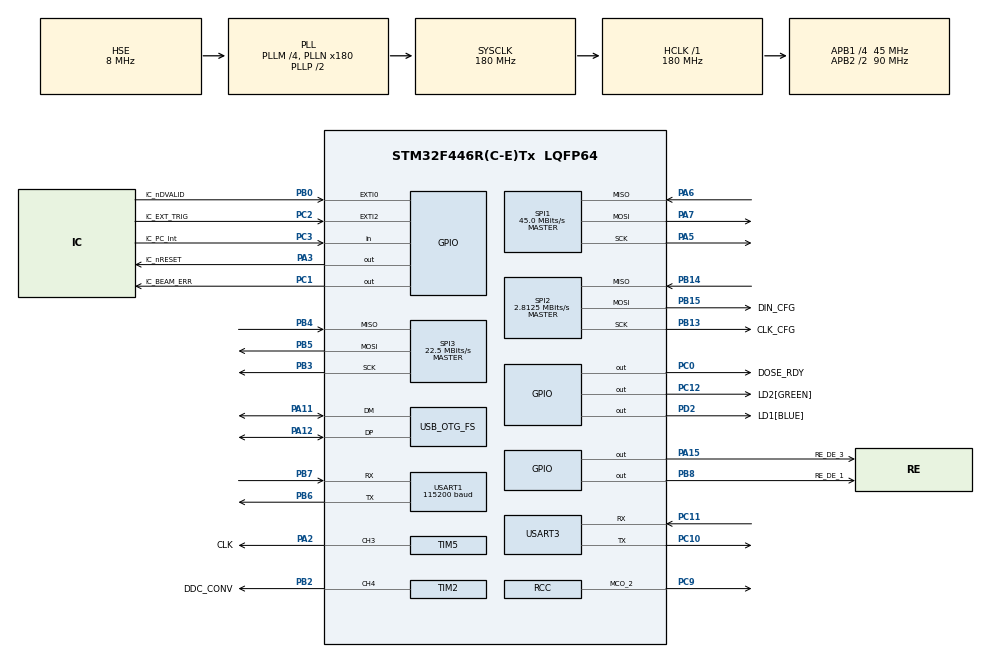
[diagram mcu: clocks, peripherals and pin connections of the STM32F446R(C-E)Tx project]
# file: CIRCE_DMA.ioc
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Dma.Request0=USART1_RX
Dma.Request1=SPI1_RX
Dma.Request2=SPI1_TX
Dma.SPI1_RX.1.Direction=DMA_PERIPH_TO_MEMORY
Dma.SPI1_RX.1.FIFOMode=DMA_FIFOMODE_DISABLE
Dma.SPI1_RX.1.Instance=DMA2_Stream2
Dma.SPI1_RX.1.MemDataAlignment=DMA_MDATAALIGN_HALFWORD
Dma.SPI1_RX.1.MemInc=DMA_MINC_ENABLE
Dma.SPI1_RX.1.Mode=DMA_NORMAL
Dma.SPI1_RX.1.PeriphDataAlignment=DMA_PDATAALIGN_HALFWORD
Dma.SPI1_RX.1.PeriphInc=DMA_PINC_DISABLE
Dma.SPI1_RX.1.Priority=DMA_PRIORITY_LOW
Dma.SPI1_TX.2.Direction=DMA_MEMORY_TO_PERIPH
Dma.SPI1_TX.2.FIFOMode=DMA_FIFOMODE_DISABLE
Dma.SPI1_TX.2.Instance=DMA2_Stream3
Dma.SPI1_TX.2.MemDataAlignment=DMA_MDATAALIGN_HALFWORD
Dma.SPI1_TX.2.MemInc=DMA_MINC_ENABLE
Dma.SPI1_TX.2.Mode=DMA_NORMAL
Dma.SPI1_TX.2.PeriphDataAlignment=DMA_PDATAALIGN_HALFWORD
Dma.SPI1_TX.2.PeriphInc=DMA_PINC_DISABLE
Dma.SPI1_TX.2.Priority=DMA_PRIORITY_LOW
Dma.USART1_RX.0.Direction=DMA_PERIPH_TO_MEMORY
Dma.USART1_RX.0.FIFOMode=DMA_FIFOMODE_DISABLE
Dma.USART1_RX.0.Instance=DMA2_Stream5
Dma.USART1_RX.0.MemDataAlignment=DMA_MDATAALIGN_BYTE
Dma.USART1_RX.0.MemInc=DMA_MINC_ENABLE
Dma.USART1_RX.0.Mode=DMA_NORMAL
Dma.USART1_RX.0.PeriphDataAlignment=DMA_PDATAALIGN_BYTE
Dma.USART1_RX.0.PeriphInc=DMA_PINC_DISABLE
Dma.USART1_RX.0.Priority=DMA_PRIORITY_VERY_HIGH
Mcu.Family=STM32F4
Mcu.Name=STM32F446R(C-E)Tx
Mcu.Package=LQFP64
NVIC.DMA2_Stream2_IRQn=true\:1\:0\:true\:false\:true\:false\:true\:true
NVIC.DMA2_Stream3_IRQn=true\:0\:0\:false\:false\:true\:false\:true\:true
NVIC.DMA2_Stream5_IRQn=true\:0\:0\:false\:false\:true\:false\:true\:true
NVIC.EXTI0_IRQn=true\:0\:0\:true\:false\:true\:true\:true\:true
NVIC.OTG_FS_IRQn=true\:0\:0\:false\:false\:true\:false\:true\:true
NVIC.PriorityGroup=NVIC_PRIORITYGROUP_4
NVIC.SPI1_IRQn=true\:0\:0\:false\:false\:true\:true\:true\:true
NVIC.USART1_IRQn=true\:1\:0\:true\:false\:true\:true\:true\:true
PA11.Mode=Device_Only
PA11.Signal=USB_OTG_FS_DM
PA12.Mode=Device_Only
PA12.Signal=USB_OTG_FS_DP
PA13.Mode=Serial_Wire
PA13.Signal=SYS_JTMS-SWDIO
PA14.Mode=Serial_Wire
PA14.Signal=SYS_JTCK-SWCLK
PA15.GPIO_Label=RE_DE_3
PA15.GPIO_PuPd=GPIO_PULLDOWN
PA15.Signal=GPIO_Output
PA2.GPIO_Label=CLK
PA2.Signal=S_TIM5_CH3
PA3.GPIO_Label=IC_nRESET
PA3.Signal=GPIO_Output
PA5.GPIO_Mode=GPIO_MODE_AF_PP
PA5.GPIO_PuPd=GPIO_NOPULL
PA5.GPIO_Speed=GPIO_SPEED_FREQ_VERY_HIGH
PA5.Mode=Full_Duplex_Master
PA5.Signal=SPI1_SCK
PA6.GPIO_Speed=GPIO_SPEED_FREQ_VERY_HIGH
PA6.Mode=Full_Duplex_Master
PA6.Signal=SPI1_MISO
PA7.GPIO_Speed=GPIO_SPEED_FREQ_VERY_HIGH
PA7.Mode=Full_Duplex_Master
PA7.Signal=SPI1_MOSI
PB0.GPIO_Label=IC_nDVALID
PB0.GPIO_ModeDefaultEXTI=GPIO_MODE_IT_FALLING
PB0.Signal=GPXTI0
PB13.GPIO_Label=CLK_CFG
PB13.Mode=Full_Duplex_Master
PB13.Signal=SPI2_SCK
PB14.Mode=Full_Duplex_Master
PB14.Signal=SPI2_MISO
PB15.GPIO_Label=DIN_CFG
PB15.Mode=Full_Duplex_Master
PB15.Signal=SPI2_MOSI
PB2.GPIO_Label=DDC_CONV
PB2.Signal=S_TIM2_CH4
PB3.Mode=Full_Duplex_Master
PB3.Signal=SPI3_SCK
PB4.Mode=Full_Duplex_Master
PB4.Signal=SPI3_MISO
PB5.Mode=Full_Duplex_Master
PB5.Signal=SPI3_MOSI
PB6.Mode=Asynchronous
PB6.Signal=USART1_TX
PB7.Mode=Asynchronous
PB7.Signal=USART1_RX
PB8.GPIO_Label=RE_DE_1
PB8.GPIO_PuPd=GPIO_PULLDOWN
PB8.Signal=GPIO_Output
PC0.GPIO_Label=DOSE_RDY
PC0.Signal=GPIO_Output
PC1.GPIO_Label=IC_BEAM_ERR
PC1.Signal=GPIO_Output
PC10.Mode=Asynchronous
PC10.Signal=USART3_TX
PC11.Mode=Asynchronous
PC11.Signal=USART3_RX
PC12.GPIO_Label=LD2[GREEN]
PC12.Signal=GPIO_Output
PC2.GPIO_Label=IC_EXT_TRIG
PC2.GPIO_ModeDefaultEXTI=GPIO_MODE_IT_RISING
PC2.Signal=GPXTI2
PC3.GPIO_Label=IC_PC_Int
PC3.GPIO_PuPd=GPIO_PULLDOWN
PC3.Signal=GPIO_Input
PC9.Mode=Clock-out-2
PC9.Signal=RCC_MCO_2
PD2.GPIO_Label=LD1[BLUE]
PD2.Signal=GPIO_Output
PH0-OSC_IN.Mode=HSE-External-Oscillator
PH0-OSC_IN.Signal=RCC_OSC_IN
PH1-OSC_OUT.Mode=HSE-External-Oscillator
PH1-OSC_OUT.Signal=RCC_OSC_OUT
ProjectManager.HeapSize=0x200
ProjectManager.StackSize=0x400
ProjectManager.TargetToolchain=STM32CubeIDE
RCC.AHBFreq_Value=180000000
RCC.APB1CLKDivider=RCC_HCLK_DIV4
RCC.APB1Freq_Value=45000000
RCC.APB1TimFreq_Value=90000000
RCC.APB2CLKDivider=RCC_HCLK_DIV2
RCC.APB2Freq_Value=90000000
RCC.APB2TimFreq_Value=180000000
RCC.CortexFreq_Value=180000000
RCC.HCLKFreq_Value=180000000
RCC.HSE_VALUE=8000000
RCC.PLLI2SM=8
RCC.PLLI2SN=100
RCC.PLLM=4
RCC.PLLN=180
RCC.PLLQ=7
RCC.PLLSAIM=4
RCC.PLLSAIP=RCC_PLLSAIP_DIV8
RCC.PLLSourceVirtual=RCC_PLLSOURCE_HSE
RCC.RCC_MCO2Source=RCC_MCO2SOURCE_HSE
RCC.RCC_MCODiv1=RCC_MCODIV_5
RCC.SYSCLKFreq_VALUE=180000000
RCC.SYSCLKSource=RCC_SYSCLKSOURCE_PLLCLK
RCC.USBCLockSelection=RCC_CLK48CLKSOURCE_PLLSAIP
RCC.USBFreq_Value=48000000
RCC.VCOOutputFreq_Value=360000000
SH.S_TIM2_CH4.0=TIM2_CH4,PWM Generation4 CH4
SH.S_TIM5_CH3.0=TIM5_CH3,PWM Generation3 CH3
SPI1.BaudRatePrescaler=SPI_BAUDRATEPRESCALER_2
SPI1.CalculateBaudRate=45.0 MBits/s
SPI1.DataSize=SPI_DATASIZE_16BIT
SPI1.Direction=SPI_DIRECTION_2LINES
SPI1.Mode=SPI_MODE_MASTER
SPI1.VirtualType=VM_MASTER
SPI2.BaudRatePrescaler=SPI_BAUDRATEPRESCALER_16
SPI2.CalculateBaudRate=2.8125 MBits/s
SPI2.DataSize=SPI_DATASIZE_16BIT
SPI2.Direction=SPI_DIRECTION_2LINES
SPI2.Mode=SPI_MODE_MASTER
SPI2.VirtualType=VM_MASTER
SPI3.CalculateBaudRate=22.5 MBits/s
SPI3.Direction=SPI_DIRECTION_2LINES
SPI3.Mode=SPI_MODE_MASTER
SPI3.VirtualType=VM_MASTER
TIM2.Channel-PWM\ Generation4\ CH4=TIM_CHANNEL_4
TIM2.Period=499
TIM2.Prescaler=89
TIM2.Pulse-PWM\ Generation4\ CH4=249
TIM5.Channel-PWM\ Generation3\ CH3=TIM_CHANNEL_3
USART1.BaudRate=115200
USART1.VirtualMode=VM_ASYNC
USART3.VirtualMode=VM_ASYNC
USB_DEVICE.CLASS_NAME_FS=CDC
USB_DEVICE.VirtualMode-CDC_FS=Cdc
USB_DEVICE.VirtualModeFS=Cdc_FS
USB_OTG_FS.VirtualMode=Device_Only
VP_TIM2_VS_ClockSourceINT.Mode=Internal
VP_USB_DEVICE_VS_USB_DEVICE_CDC_FS.Mode=CDC_FS
board=custom

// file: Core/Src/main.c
/* USER CODE BEGIN Header */
/**
  ******************************************************************************
  * @file           : main.c
  * @brief          : Main program body
  ******************************************************************************
  * @attention
  *
  * Copyright (c) 2025 STMicroelectronics.
  * All rights reserved.
  *
  * This software is licensed under terms that can be found in the LICENSE file
  * in the root directory of this software component.
  * If no LICENSE file comes with this software, it is provided AS-IS.
  *
  ******************************************************************************
  */
/* USER CODE END Header */
#include "main.h"
#include "usb_device.h"

/* USER CODE BEGIN Includes */
#include "usbd_cdc_if.h"
#include "IC_ADC64.h"
#include "USART_cmd.h"
#include "delay_micros.h"
#include "common.h"
/* USER CODE END Includes */

/* USER CODE BEGIN PD */
#define USB_BUFFLEN 500
/* USER CODE END PD */

SPI_HandleTypeDef hspi1;
SPI_HandleTypeDef hspi2;
SPI_HandleTypeDef hspi3;
DMA_HandleTypeDef hdma_spi1_rx;
DMA_HandleTypeDef hdma_spi1_tx;

TIM_HandleTypeDef htim2;
TIM_HandleTypeDef htim5;

UART_HandleTypeDef huart1;
UART_HandleTypeDef huart3;
DMA_HandleTypeDef hdma_usart1_rx;

/* USER CODE BEGIN PV */
extern char str[100];
volatile uint8_t rx_index = 0;
volatile uint8_t reception_complete = 0;
extern void string_parse();
extern void IC_Read_cmd_UART();
extern bool USART_CMD_ON;
//extern IC_Data_t IC_Data;
volatile IC_state state;
//extern bool USART_CMD_ON;
extern IC_Mode_t IC_Mode;
uint8_t usbTxBuf[USB_BUFFLEN];
uint16_t usbTxBufLen;
uint8_t usbRxBuf[USB_BUFFLEN];
uint16_t usbRxBufLen;
volatile bool usbRxFlag;
bool irq_on_off;
bool line_is_busy = false;
bool start_reading = false;
//RTC_TimeTypeDef sTime = {0};
//RTC_DateTypeDef DateToUpdate = {0};
/* USER CODE END PV */

void SystemClock_Config(void);
static void MX_GPIO_Init(void);
static void MX_DMA_Init(void);
static void MX_SPI1_Init(void);
static void MX_SPI2_Init(void);
static void MX_USART3_UART_Init(void);
static void MX_TIM2_Init(void);
static void MX_TIM5_Init(void);
static void MX_USART1_UART_Init(void);
static void MX_SPI3_Init(void);
/* USER CODE BEGIN PFP */
void Reset_SPI_DMA();
/* USER CODE END PFP */

int main(void)
{

  /* MCU Configuration--------------------------------------------------------*/

  /* Reset of all peripherals, Initializes the Flash interface and the Systick. */
  HAL_Init();

  /* Configure the system clock */
  SystemClock_Config();

  /* Initialize all configured peripherals */
  MX_GPIO_Init();
  MX_DMA_Init();
  MX_SPI1_Init();
  MX_SPI2_Init();
  MX_USART3_UART_Init();
  MX_TIM2_Init();
  MX_USB_DEVICE_Init();
  MX_TIM5_Init();
  MX_USART1_UART_Init();
  MX_SPI3_Init();
  /* USER CODE BEGIN 2 */
  HAL_GPIO_WritePin(LD1_GPIO_Port,LD1_Pin,SET);
  HAL_GPIO_WritePin(LD2_GPIO_Port,LD2_Pin,SET);
  HAL_UART_Receive_DMA(&mcu_huart, (uint8_t*)str, 10);
  //HAL_SPI_Receive_DMA(&data_spi, (uint8_t*)IC_Data.dout, IC_CH_NUM);
//  USART_net_init(&huart1);
  //USART_set_parse_func(string_parse);
  USART_set_parse_func(IC_Read_cmd_UART);
  //HAL_TIM_PWM_Start(&htim1, TIM_CHANNEL_1);
  DWT_Init();

  /* USER CODE END 2 */

  /* Infinite loop */
  /* USER CODE BEGIN WHILE */
  HAL_Delay(500);
  //IC_Reset();
  //__HAL_SPI_ENABLE_IT(&hspi1, (SPI_IT_RXNE | SPI_IT_ERR));
  //HAL_GPIO_WritePin(LD2_GPIO_Port,LD2_Pin,SET);
  //HAL_GPIO_WritePin(LD1_GPIO_Port,LD1_Pin,SET);
   HAL_GPIO_WritePin(LD1_GPIO_Port,LD1_Pin,RESET);
   HAL_GPIO_WritePin(LD2_GPIO_Port,LD2_Pin,RESET);
   printf("[INFO] START F4\n");
   state = STATE_WAIT;
	//HAL_TIM_PWM_Start(&conv_timer, conv_channel);
   HAL_GPIO_WritePin(RE_DE_3_GPIO_Port,RE_DE_3_Pin,SET);
  /* USER CODE END 2 */
  /* Infinite loop */
  /* USER CODE BEGIN WHILE */
  while (1)
  {
    /* USER CODE END WHILE */

    /* USER CODE BEGIN 3 */
	  switch(state){
	  case STATE_WAIT:
		  break;
	  case STATE_READING:
		  state = STATE_WAIT;

		  IC_ReadADC();
		  break;
	  case STATE_PROCESSING:

		  state = STATE_WAIT;
		  IC_ReadADC_Complete();
		  break;

	  }

//	  if(usbRxFlag == true){
//		  usbRxFlag = false;
//
//
//	 			 string_parse((char*)usbRxBuf);
//	 			 // if(irq_on_off == true){
//	 				//  IC_ReadADC_on();
//	 			  //}
//	 			 // if(IC_Mode.ext_trigger_mode != IC_EXT_TRIGGER_ON && irq_on_off == true){
//	 			  if(irq_on_off == true){
//	 				  IC_ReadADC_on();
//	 			  }
//	  }

  }
  /* USER CODE END 3 */
}

void SystemClock_Config(void)
{
  RCC_OscInitTypeDef RCC_OscInitStruct = {0};
  RCC_ClkInitTypeDef RCC_ClkInitStruct = {0};

  /** Configure the main internal regulator output voltage
  */
  __HAL_RCC_PWR_CLK_ENABLE();
  __HAL_PWR_VOLTAGESCALING_CONFIG(PWR_REGULATOR_VOLTAGE_SCALE1);

  /** Initializes the RCC Oscillators according to the specified parameters
  * in the RCC_OscInitTypeDef structure.
  */
  RCC_OscInitStruct.OscillatorType = RCC_OSCILLATORTYPE_HSE;
  RCC_OscInitStruct.HSEState = RCC_HSE_ON;
  RCC_OscInitStruct.PLL.PLLState = RCC_PLL_ON;
  RCC_OscInitStruct.PLL.PLLSource = RCC_PLLSOURCE_HSE;
  RCC_OscInitStruct.PLL.PLLM = 4;
  RCC_OscInitStruct.PLL.PLLN = 180;
  RCC_OscInitStruct.PLL.PLLP = RCC_PLLP_DIV2;
  RCC_OscInitStruct.PLL.PLLQ = 7;
  RCC_OscInitStruct.PLL.PLLR = 2;
  if (HAL_RCC_OscConfig(&RCC_OscInitStruct) != HAL_OK)
  {
    Error_Handler();
  }

  /** Activate the Over-Drive mode
  */
  if (HAL_PWREx_EnableOverDrive() != HAL_OK)
  {
    Error_Handler();
  }

  /** Initializes the CPU, AHB and APB buses clocks
  */
  RCC_ClkInitStruct.ClockType = RCC_CLOCKTYPE_HCLK|RCC_CLOCKTYPE_SYSCLK
                              |RCC_CLOCKTYPE_PCLK1|RCC_CLOCKTYPE_PCLK2;
  RCC_ClkInitStruct.SYSCLKSource = RCC_SYSCLKSOURCE_PLLCLK;
  RCC_ClkInitStruct.AHBCLKDivider = RCC_SYSCLK_DIV1;
  RCC_ClkInitStruct.APB1CLKDivider = RCC_HCLK_DIV4;
  RCC_ClkInitStruct.APB2CLKDivider = RCC_HCLK_DIV2;

  if (HAL_RCC_ClockConfig(&RCC_ClkInitStruct, FLASH_LATENCY_5) != HAL_OK)
  {
    Error_Handler();
  }
  HAL_RCC_MCOConfig(RCC_MCO2, RCC_MCO2SOURCE_HSE, RCC_MCODIV_1);
}

static void MX_SPI1_Init(void)
{

  /* SPI1 parameter configuration*/
  hspi1.Instance = SPI1;
  hspi1.Init.Mode = SPI_MODE_MASTER;
  hspi1.Init.Direction = SPI_DIRECTION_2LINES;
  hspi1.Init.DataSize = SPI_DATASIZE_16BIT;
  hspi1.Init.CLKPolarity = SPI_POLARITY_LOW;
  hspi1.Init.CLKPhase = SPI_PHASE_1EDGE;
  hspi1.Init.NSS = SPI_NSS_SOFT;
  hspi1.Init.BaudRatePrescaler = SPI_BAUDRATEPRESCALER_2;
  hspi1.Init.FirstBit = SPI_FIRSTBIT_MSB;
  hspi1.Init.TIMode = SPI_TIMODE_DISABLE;
  hspi1.Init.CRCCalculation = SPI_CRCCALCULATION_DISABLE;
  hspi1.Init.CRCPolynomial = 10;
  if (HAL_SPI_Init(&hspi1) != HAL_OK)
  {
    Error_Handler();
  }

}

static void MX_SPI2_Init(void)
{

  /* SPI2 parameter configuration*/
  hspi2.Instance = SPI2;
  hspi2.Init.Mode = SPI_MODE_MASTER;
  hspi2.Init.Direction = SPI_DIRECTION_2LINES;
  hspi2.Init.DataSize = SPI_DATASIZE_16BIT;
  hspi2.Init.CLKPolarity = SPI_POLARITY_LOW;
  hspi2.Init.CLKPhase = SPI_PHASE_1EDGE;
  hspi2.Init.NSS = SPI_NSS_SOFT;
  hspi2.Init.BaudRatePrescaler = SPI_BAUDRATEPRESCALER_16;
  hspi2.Init.FirstBit = SPI_FIRSTBIT_MSB;
  hspi2.Init.TIMode = SPI_TIMODE_DISABLE;
  hspi2.Init.CRCCalculation = SPI_CRCCALCULATION_DISABLE;
  hspi2.Init.CRCPolynomial = 10;
  if (HAL_SPI_Init(&hspi2) != HAL_OK)
  {
    Error_Handler();
  }

}

static void MX_SPI3_Init(void)
{

  /* SPI3 parameter configuration*/
  hspi3.Instance = SPI3;
  hspi3.Init.Mode = SPI_MODE_MASTER;
  hspi3.Init.Direction = SPI_DIRECTION_2LINES;
  hspi3.Init.DataSize = SPI_DATASIZE_8BIT;
  hspi3.Init.CLKPolarity = SPI_POLARITY_LOW;
  hspi3.Init.CLKPhase = SPI_PHASE_1EDGE;
  hspi3.Init.NSS = SPI_NSS_SOFT;
  hspi3.Init.BaudRatePrescaler = SPI_BAUDRATEPRESCALER_2;
  hspi3.Init.FirstBit = SPI_FIRSTBIT_MSB;
  hspi3.Init.TIMode = SPI_TIMODE_DISABLE;
  hspi3.Init.CRCCalculation = SPI_CRCCALCULATION_DISABLE;
  hspi3.Init.CRCPolynomial = 10;
  if (HAL_SPI_Init(&hspi3) != HAL_OK)
  {
    Error_Handler();
  }

}

static void MX_TIM2_Init(void)
{

  TIM_ClockConfigTypeDef sClockSourceConfig = {0};
  TIM_MasterConfigTypeDef sMasterConfig = {0};
  TIM_OC_InitTypeDef sConfigOC = {0};

  htim2.Instance = TIM2;
  htim2.Init.Prescaler = 89;
  htim2.Init.CounterMode = TIM_COUNTERMODE_UP;
  htim2.Init.Period = 499;
  htim2.Init.ClockDivision = TIM_CLOCKDIVISION_DIV1;
  htim2.Init.AutoReloadPreload = TIM_AUTORELOAD_PRELOAD_DISABLE;
  if (HAL_TIM_Base_Init(&htim2) != HAL_OK)
  {
    Error_Handler();
  }
  sClockSourceConfig.ClockSource = TIM_CLOCKSOURCE_INTERNAL;
  if (HAL_TIM_ConfigClockSource(&htim2, &sClockSourceConfig) != HAL_OK)
  {
    Error_Handler();
  }
  if (HAL_TIM_PWM_Init(&htim2) != HAL_OK)
  {
    Error_Handler();
  }
  sMasterConfig.MasterOutputTrigger = TIM_TRGO_RESET;
  sMasterConfig.MasterSlaveMode = TIM_MASTERSLAVEMODE_DISABLE;
  if (HAL_TIMEx_MasterConfigSynchronization(&htim2, &sMasterConfig) != HAL_OK)
  {
    Error_Handler();
  }
  sConfigOC.OCMode = TIM_OCMODE_PWM1;
  sConfigOC.Pulse = 249;
  sConfigOC.OCPolarity = TIM_OCPOLARITY_HIGH;
  sConfigOC.OCFastMode = TIM_OCFAST_DISABLE;
  if (HAL_TIM_PWM_ConfigChannel(&htim2, &sConfigOC, TIM_CHANNEL_4) != HAL_OK)
  {
    Error_Handler();
  }
  HAL_TIM_MspPostInit(&htim2);

}

static void MX_TIM5_Init(void)
{

  TIM_MasterConfigTypeDef sMasterConfig = {0};
  TIM_OC_InitTypeDef sConfigOC = {0};

  htim5.Instance = TIM5;
  htim5.Init.Prescaler = 0;
  htim5.Init.CounterMode = TIM_COUNTERMODE_UP;
  htim5.Init.Period = 4294967295;
  htim5.Init.ClockDivision = TIM_CLOCKDIVISION_DIV1;
  htim5.Init.AutoReloadPreload = TIM_AUTORELOAD_PRELOAD_DISABLE;
  if (HAL_TIM_PWM_Init(&htim5) != HAL_OK)
  {
    Error_Handler();
  }
  sMasterConfig.MasterOutputTrigger = TIM_TRGO_RESET;
  sMasterConfig.MasterSlaveMode = TIM_MASTERSLAVEMODE_DISABLE;
  if (HAL_TIMEx_MasterConfigSynchronization(&htim5, &sMasterConfig) != HAL_OK)
  {
    Error_Handler();
  }
  sConfigOC.OCMode = TIM_OCMODE_PWM1;
  sConfigOC.Pulse = 0;
  sConfigOC.OCPolarity = TIM_OCPOLARITY_HIGH;
  sConfigOC.OCFastMode = TIM_OCFAST_DISABLE;
  if (HAL_TIM_PWM_ConfigChannel(&htim5, &sConfigOC, TIM_CHANNEL_3) != HAL_OK)
  {
    Error_Handler();
  }
  HAL_TIM_MspPostInit(&htim5);

}

static void MX_USART1_UART_Init(void)
{

  huart1.Instance = USART1;
  huart1.Init.BaudRate = 115200;
  huart1.Init.WordLength = UART_WORDLENGTH_8B;
  huart1.Init.StopBits = UART_STOPBITS_1;
  huart1.Init.Parity = UART_PARITY_NONE;
  huart1.Init.Mode = UART_MODE_TX_RX;
  huart1.Init.HwFlowCtl = UART_HWCONTROL_NONE;
  huart1.Init.OverSampling = UART_OVERSAMPLING_16;
  if (HAL_UART_Init(&huart1) != HAL_OK)
  {
    Error_Handler();
  }

}

static void MX_USART3_UART_Init(void)
{

  huart3.Instance = USART3;
  huart3.Init.BaudRate = 115200;
  huart3.Init.WordLength = UART_WORDLENGTH_8B;
  huart3.Init.StopBits = UART_STOPBITS_1;
  huart3.Init.Parity = UART_PARITY_NONE;
  huart3.Init.Mode = UART_MODE_TX_RX;
  huart3.Init.HwFlowCtl = UART_HWCONTROL_NONE;
  huart3.Init.OverSampling = UART_OVERSAMPLING_16;
  if (HAL_UART_Init(&huart3) != HAL_OK)
  {
    Error_Handler();
  }

}

static void MX_DMA_Init(void)
{

  /* DMA controller clock enable */
  __HAL_RCC_DMA2_CLK_ENABLE();

  /* DMA interrupt init */
  /* DMA2_Stream2_IRQn interrupt configuration */
  HAL_NVIC_SetPriority(DMA2_Stream2_IRQn, 1, 0);
  HAL_NVIC_EnableIRQ(DMA2_Stream2_IRQn);
  /* DMA2_Stream3_IRQn interrupt configuration */
  HAL_NVIC_SetPriority(DMA2_Stream3_IRQn, 0, 0);
  HAL_NVIC_EnableIRQ(DMA2_Stream3_IRQn);
  /* DMA2_Stream5_IRQn interrupt configuration */
  HAL_NVIC_SetPriority(DMA2_Stream5_IRQn, 0, 0);
  HAL_NVIC_EnableIRQ(DMA2_Stream5_IRQn);

}

static void MX_GPIO_Init(void)
{
  GPIO_InitTypeDef GPIO_InitStruct = {0};

  /* GPIO Ports Clock Enable */
  __HAL_RCC_GPIOH_CLK_ENABLE();
  __HAL_RCC_GPIOC_CLK_ENABLE();
  __HAL_RCC_GPIOA_CLK_ENABLE();
  __HAL_RCC_GPIOB_CLK_ENABLE();
  __HAL_RCC_GPIOD_CLK_ENABLE();

  /*Configure GPIO pin Output Level */
  HAL_GPIO_WritePin(GPIOC, DOSE_RDY_Pin|IC_BEAM_ERR_Pin|LD2_Pin, GPIO_PIN_RESET);

  /*Configure GPIO pin Output Level */
  HAL_GPIO_WritePin(GPIOA, IC_nRESET_Pin|RE_DE_3_Pin, GPIO_PIN_RESET);

  /*Configure GPIO pin Output Level */
  HAL_GPIO_WritePin(LD1_GPIO_Port, LD1_Pin, GPIO_PIN_RESET);

  /*Configure GPIO pin Output Level */
  HAL_GPIO_WritePin(RE_DE_1_GPIO_Port, RE_DE_1_Pin, GPIO_PIN_RESET);

  /*Configure GPIO pins : DOSE_RDY_Pin IC_BEAM_ERR_Pin LD2_Pin */
  GPIO_InitStruct.Pin = DOSE_RDY_Pin|IC_BEAM_ERR_Pin|LD2_Pin;
  GPIO_InitStruct.Mode = GPIO_MODE_OUTPUT_PP;
  GPIO_InitStruct.Pull = GPIO_NOPULL;
  GPIO_InitStruct.Speed = GPIO_SPEED_FREQ_LOW;
  HAL_GPIO_Init(GPIOC, &GPIO_InitStruct);

  /*Configure GPIO pin : IC_EXT_TRIG_Pin */
  GPIO_InitStruct.Pin = IC_EXT_TRIG_Pin;
  GPIO_InitStruct.Mode = GPIO_MODE_IT_RISING;
  GPIO_InitStruct.Pull = GPIO_NOPULL;
  HAL_GPIO_Init(IC_EXT_TRIG_GPIO_Port, &GPIO_InitStruct);

  /*Configure GPIO pin : IC_PC_Int_Pin */
  GPIO_InitStruct.Pin = IC_PC_Int_Pin;
  GPIO_InitStruct.Mode = GPIO_MODE_INPUT;
  GPIO_InitStruct.Pull = GPIO_PULLDOWN;
  HAL_GPIO_Init(IC_PC_Int_GPIO_Port, &GPIO_InitStruct);

  /*Configure GPIO pin : IC_nRESET_Pin */
  GPIO_InitStruct.Pin = IC_nRESET_Pin;
  GPIO_InitStruct.Mode = GPIO_MODE_OUTPUT_PP;
  GPIO_InitStruct.Pull = GPIO_NOPULL;
  GPIO_InitStruct.Speed = GPIO_SPEED_FREQ_LOW;
  HAL_GPIO_Init(IC_nRESET_GPIO_Port, &GPIO_InitStruct);

  /*Configure GPIO pin : IC_nDVALID_Pin */
  GPIO_InitStruct.Pin = IC_nDVALID_Pin;
  GPIO_InitStruct.Mode = GPIO_MODE_IT_FALLING;
  GPIO_InitStruct.Pull = GPIO_NOPULL;
  HAL_GPIO_Init(IC_nDVALID_GPIO_Port, &GPIO_InitStruct);

  /*Configure GPIO pin : PC9 */
  GPIO_InitStruct.Pin = GPIO_PIN_9;
  GPIO_InitStruct.Mode = GPIO_MODE_AF_PP;
  GPIO_InitStruct.Pull = GPIO_NOPULL;
  GPIO_InitStruct.Speed = GPIO_SPEED_FREQ_LOW;
  GPIO_InitStruct.Alternate = GPIO_AF0_MCO;
  HAL_GPIO_Init(GPIOC, &GPIO_InitStruct);

  /*Configure GPIO pin : RE_DE_3_Pin */
  GPIO_InitStruct.Pin = RE_DE_3_Pin;
  GPIO_InitStruct.Mode = GPIO_MODE_OUTPUT_PP;
  GPIO_InitStruct.Pull = GPIO_PULLDOWN;
  GPIO_InitStruct.Speed = GPIO_SPEED_FREQ_LOW;
  HAL_GPIO_Init(RE_DE_3_GPIO_Port, &GPIO_InitStruct);

  /*Configure GPIO pin : LD1_Pin */
  GPIO_InitStruct.Pin = LD1_Pin;
  GPIO_InitStruct.Mode = GPIO_MODE_OUTPUT_PP;
  GPIO_InitStruct.Pull = GPIO_NOPULL;
  GPIO_InitStruct.Speed = GPIO_SPEED_FREQ_LOW;
  HAL_GPIO_Init(LD1_GPIO_Port, &GPIO_InitStruct);

  /*Configure GPIO pin : RE_DE_1_Pin */
  GPIO_InitStruct.Pin = RE_DE_1_Pin;
  GPIO_InitStruct.Mode = GPIO_MODE_OUTPUT_PP;
  GPIO_InitStruct.Pull = GPIO_PULLDOWN;
  GPIO_InitStruct.Speed = GPIO_SPEED_FREQ_LOW;
  HAL_GPIO_Init(RE_DE_1_GPIO_Port, &GPIO_InitStruct);

  /* EXTI interrupt init*/
  HAL_NVIC_SetPriority(EXTI0_IRQn, 0, 0);
  HAL_NVIC_EnableIRQ(EXTI0_IRQn);

}

/* USER CODE BEGIN 4 */
int _write(int file, char *ptr, int len)
 {
	//if(USART_CMD_ON != true)
	//	return 1;
	(void)file;
	if(file == 1){
	//	HAL_GPIO_WritePin(RE_DE_1_GPIO_Port,RE_DE_1_Pin,SET);
	USART_enable_UARTtx();
	HAL_UART_Transmit(&mcu_huart,(uint8_t*)ptr,len,HAL_MAX_DELAY);
//	HAL_UART_Transmit_DMA(&mcu_huart,(uint8_t*)ptr,len);
	USART_enable_UARTrx();
	//HAL_GPIO_WritePin(RE_DE_1_GPIO_Port,RE_DE_1_Pin,RESET);
	/*
	static uint8_t rc = USBD_OK;

		    do {
		        rc = CDC_Transmit_FS((uint8_t*)ptr, len);
		    } while (USBD_BUSY == rc);

		    if (USBD_FAIL == rc) {
		        /// NOTE: Should never reach here.
		        /// TODO: Handle this error.
		        return 0;
		    }
		    */

	}
	//HAL_UART_Transmit_DMA(&huart3,(uint8_t*)ptr,len);
	return len;
 }

void HAL_UART_RxCpltCallback(UART_HandleTypeDef *huart)
 {
//	if(huart==&huart2){
//		//HAL_NVIC_DisableIRQ(IC_nDVALID_IRQ);
//			  //__HAL_GPIO_EXTI_CLEAR_IT(IC_nDVALID_Pin);
//			 // HAL_Delay(2);
//
//			  bool irq_on_off;
//			  if(NVIC_GetEnableIRQ(IC_nDVALID_IRQ) != 0){
//			 // if(__HAL_GPIO_EXTI_GET_IT(IC_nDVALID_IRQ)){
//				  irq_on_off = true;
//			  }else{
//				  irq_on_off = false;
//			  }
//			  IC_ReadADC_off();
//			  IC_ADC_To_PC();
//			 // if(irq_on_off == true){
//				//  IC_ReadADC_on();
//			  //}
//			 // if(IC_Mode.ext_trigger_mode != IC_EXT_TRIGGER_ON && irq_on_off == true){
//			  if(irq_on_off == true){
//				  IC_ReadADC_on();
//			  }
//	}
	if(huart==&mcu_huart)
	    {
	        // 1. Останавливаем DMA
	        HAL_UART_DMAStop(&mcu_huart);

//	        // 2. Очищаем флаг ORE (самая частая проблема!)
//	        if(__HAL_UART_GET_FLAG(&mcu_huart, UART_FLAG_ORE))
//	        {
//	            __HAL_UART_CLEAR_OREFLAG(&mcu_huart);
//	        }

	        // 3. Обрабатываем команду
//	        state = STATE_CMD;
	        IC_Read_cmd_UART(str);

	        // 4. Перезапускаем DMA с задержкой
	        //HAL_Delay(1);  // Минимальная задержка
	        HAL_UART_Receive_DMA(&mcu_huart, (uint8_t*)str, 10);
	    }
 }

void HAL_SPI_TxRxCpltCallback(SPI_HandleTypeDef *hspi){
	HAL_GPIO_TogglePin(LD2_GPIO_Port,LD2_Pin);
	if(hspi == &data_spi){
		state = STATE_PROCESSING;
		//IC_ReadADC_Complete();
	}
}

void HAL_SPI_TxRxHalfCpltCallback(SPI_HandleTypeDef *hspi){
	HAL_GPIO_TogglePin(LD2_GPIO_Port,LD2_Pin);
	if(hspi == &data_spi){

		//state = STATE_PROCESSING;
		//IC_ReadADC_Complete();
	}
}

//void SPI_DMAHalfTransmitReceiveCplt(DMA_HandleTypeDef *hdma){
//	if(hdma == & hdma_spi1_rx){
//			IC_ReadADC_Complete();
//		}
//}
//HAL_DMA_XferHalfCpltCallback
//void HAL_DMA_XferCpltCallback(DMA_HandleTypeDef *hdma)
//{
//    if(hdma == &hdma_spi1_rx) {
//        // Полная передача
//        IC_ReadADC_Complete();
//        HAL_GPIO_TogglePin(LD1_GPIO_Port, LD1_Pin);
//    }
//}

void HAL_GPIO_EXTI_Callback(uint16_t GPIO_Pin)
{
  if(GPIO_Pin == IC_nDVALID_Pin) {
	  state = STATE_READING;
		//HAL_GPIO_TogglePin(LD2_GPIO_Port,LD2_Pin);
//	  HAL_NVIC_DisableIRQ(IC_nDVALID_IRQ);
//	  __HAL_GPIO_EXTI_CLEAR_IT(IC_nDVALID_Pin);
	  //IC_ReadADC();
  }
  else if(IC_PC_Int_Pin){
	  IC_ADC_To_PC();
  }
  /*
  else if (GPIO_Pin == IC_PC_Int_Pin) {
	 //HAL_NVIC_DisableIRQ(IC_nDVALID_IRQ);
	  //__HAL_GPIO_EXTI_CLEAR_IT(IC_nDVALID_Pin);
	 // HAL_Delay(2);

	  bool irq_on_off;
	  if(NVIC_GetEnableIRQ(IC_nDVALID_IRQ) != 0){
	 // if(__HAL_GPIO_EXTI_GET_IT(IC_nDVALID_IRQ)){
		  irq_on_off = true;
	  }else{
		  irq_on_off = false;
	  }
	  IC_ReadADC_off();
	  IC_ADC_To_PC();
	 // if(irq_on_off == true){
		//  IC_ReadADC_on();
	  //}
	 // if(IC_Mode.ext_trigger_mode != IC_EXT_TRIGGER_ON && irq_on_off == true){
	  if(irq_on_off == true){
		  IC_ReadADC_on();
	  }

			// HAL_NVIC_EnableIRQ(IC_nDVALID_IRQ);
  }
  */
  else if (GPIO_Pin == IC_EXT_TRIG_Pin && IC_Mode.ext_trigger_mode == IC_EXT_TRIGGER_ON) {
  	  IC_Ext_Trig();
    }
/*
  else if (GPIO_Pin == IC_PC_Int_Pin) {
	  HAL_NVIC_DisableIRQ(IC_nDVALID_IRQ);
	  		  //delay_us(10);
	  		  //HAL_Delay(2);
	  IC_ADC_To_PC();
	  HAL_NVIC_EnableIRQ(IC_nDVALID_IRQ);
      }
*/
 // else if(GPIO_Pin == USER_Btn_Pin && IC_Mode.ext_trigger_mode == IC_EXT_TRIGGER_ON){
	//  HAL_Delay(1);
	//  IC_ReadADC_off();
//	  IC_Ext_Trig();
 // }

 }
/*
void HAL_SPI_RxCpltCallback(SPI_HandleTypeDef * hspi)
{
	if(hspi == &data_spi){
		IC_ReadADC_DMA_Complete();
	}
}
*/
/*
void HAL_SPI_TxRxCpltCallback(SPI_HandleTypeDef * hspi)
{
	if(hspi == &hspi1){
		//IC_Read_cmd_DMA_Complete();
		if(USART_CMD_ON){
			printf("[TxRxInterrupt] IC_Read_cmd_DMA_Complete Ok\n");
		}
	 }
}
*/
void Reset_SPI(SPI_HandleTypeDef *hspi, char *str) {
    // Deinit SPI
    HAL_SPI_DeInit(hspi);

    // Init SPI
    if (HAL_SPI_Init(hspi) != HAL_OK) {
        printf("[ERROR] Failed to reinitialize %s SPI\n",str);
    } else {
        printf("[INFO] %s SPI reinitialized successfully\n",str);
    }
}

void Reset_SPI_DMA(SPI_HandleTypeDef *hspi, char *str) {
    // stop DMA
    HAL_DMA_Abort(hspi->hdmatx);
    HAL_DMA_Abort(hspi->hdmarx);

    // Deinit SPI
    HAL_SPI_DeInit(hspi);

    // Init SPI
    if (HAL_SPI_Init(hspi) != HAL_OK) {
        printf("[ERROR] Failed to reinitialize %s SPI\n",str);
    } else {
        printf("[INFO] %s SPI and DMA reinitialized successfully\n",str);
    }
}

/**
  * @brief SPI Error Callback
  */
void HAL_SPI_ErrorCallback(SPI_HandleTypeDef *hspi)
{
    if(hspi == &data_spi) {
        // Сохраняем время ошибки для отладки
        static uint32_t last_error_time = 0;
        uint32_t current_time = HAL_GetTick();

        // Защита от спама ошибок
        if((current_time - last_error_time) < 1000) {
            return; // Не чаще 1 раза в секунду
        }
        last_error_time = current_time;

        // Получаем код ошибки
        uint32_t error_code = HAL_SPI_GetError(hspi);

        printf("\n[SPI ERROR] =================================\n");
        printf("[SPI ERROR] Time: %lu ms\n", current_time);
        printf("[SPI ERROR] Code: 0x%08lX\n", error_code);
        printf("[SPI ERROR] SPI State: %d\n", hspi->State);

        // Анализ конкретных ошибок
        if(error_code & HAL_SPI_ERROR_MODF) {
            printf("[SPI ERROR] MODF - Mode Fault\n");
            // Автоматически очищаем флаг
            __HAL_SPI_CLEAR_MODFFLAG(hspi);
        }

        if(error_code & HAL_SPI_ERROR_CRC) {
            printf("[SPI ERROR] CRC Error\n");
            __HAL_SPI_CLEAR_CRCERRFLAG(hspi);
        }

        if(error_code & HAL_SPI_ERROR_OVR) {
            printf("[SPI ERROR] OVR - Overrun Error\n");
            // Важно правильно очистить OVR флаг
            __HAL_SPI_CLEAR_OVRFLAG(hspi);
        }

        if(error_code & HAL_SPI_ERROR_FRE) {
            printf("[SPI ERROR] FRE - Frame Error\n");
            __HAL_SPI_CLEAR_FREFLAG(hspi);
        }

        if(error_code & HAL_SPI_ERROR_DMA) {
            printf("[SPI ERROR] DMA Transfer Error\n");
            printf("[SPI ERROR] DMA RX State: %d\n", hspi->hdmarx ? hspi->hdmarx->State : -1);
            printf("[SPI ERROR] DMA TX State: %d\n", hspi->hdmatx ? hspi->hdmatx->State : -1);

            // Дополнительная диагностика DMA
            if(hspi->hdmarx) {
                printf("[SPI ERROR] DMA RX NDTR: %d\n", (int)hspi->hdmarx->Instance->NDTR);
                printf("[SPI ERROR] DMA RX CR: 0x%08lX\n", hspi->hdmarx->Instance->CR);
            }
        }

        if(error_code & HAL_SPI_ERROR_FLAG) {
            printf("[SPI ERROR] FLAG - Undefined Flag Error\n");
            // Сбрасываем все флаги
//            __HAL_SPI_CLEAR_EOTFLAG(hspi);
//            __HAL_SPI_CLEAR_TXTFFLAG(hspi);
        }

        if(error_code & HAL_SPI_ERROR_ABORT) {
            printf("[SPI ERROR] ABORT - Transfer Aborted\n");
        }

        printf("[SPI ERROR] =================================\n\n");

        // Автоматическое восстановление
//        SPI_Auto_Recovery(hspi);
    }
}

void SPI_Error_Handler(SPI_HandleTypeDef *hspi, char *str) {
    uint32_t error = HAL_SPI_GetError(hspi);
    if (error & HAL_SPI_ERROR_OVR) {
        printf("[ERROR] %s SPI overrun error\n",str);
    }
    if (error & HAL_SPI_ERROR_MODF) {
        printf("[ERROR] %s SPI mode fault error\n",str);
    }
    if (error & HAL_SPI_ERROR_CRC) {
        printf("[ERROR] %s SPI CRC error\n",str);
    }
    if (error & HAL_SPI_ERROR_DMA) {
        printf("[ERROR] %s SPI DMA error\n",str);
    }
    if (error & HAL_SPI_ERROR_FLAG) {
        printf("[ERROR] %s SPI flag error\n",str);
    }

    // Сброс SPI
    Reset_SPI(hspi,str);
}
void USB_RXCallback(uint8_t* Buf, uint32_t *Len){
	memcpy(usbRxBuf, Buf, *Len);
		//usbRxBufLen = *Len;
		usbRxFlag = true;
		USART_CMD_ON = 0;
		 if(NVIC_GetEnableIRQ(IC_nDVALID_IRQ) != 0){
			 			 // if(__HAL_GPIO_EXTI_GET_IT(IC_nDVALID_IRQ)){
			 				  irq_on_off = true;
			 			  }else{
			 				  irq_on_off = false;
			 			  }
			 			  IC_ReadADC_off();
		//USB_exec_command(usbRxBuf,usbRxBufLen,usbRxFlag);
		//string_parse((char*)Buf);
}

void USB_exec_command(uint8_t* RxBuf,uint16_t RxBufLen, bool RxFlag){
	if(RxFlag && RxBufLen){
			  //uint32_t timeNowMS = HAL_GetTick();
			  //usbTxBufLen = snprintf((char *) usbTxBuf, USB_BUFFLEN,"[%02lu:%02lu] %u\r\n", (timeNowMS /60000), (timeNowMS / 1000)%60, usbRxBufLen);
			  if(strncmp((char*)RxBuf,"on:",3)==0){
				  HAL_GPIO_WritePin(LD1_GPIO_Port,LD1_Pin,SET);
				  //usbTxBufLen = snprintf((char *) usbTxBuf, USB_BUFFLEN,"On\n");
				  //CDC_Transmit_FS(usbTxBuf, usbTxBufLen);
				  printf("On\n");
			  }else if(strncmp((char*)RxBuf,"off:",4) == 0){
				  HAL_GPIO_WritePin(LD1_GPIO_Port,LD1_Pin,RESET);
				  printf("Off\n");
			  }

			  RxFlag = 0;
			  RxBufLen = 0;
		  }
}
/*
void Get_time(){
	HAL_RTC_GetTime(&hrtc, &sTime, RTC_FORMAT_BIN); // RTC_FORMAT_BIN , RTC_FORMAT_BCD
	printf( "\n[UPTIME] %d:%d:%d\n", sTime.Hours, sTime.Minutes, sTime.Seconds);
	HAL_RTC_GetDate(&hrtc, &DateToUpdate, RTC_FORMAT_BIN);
			//printf("Date %d-%d-20%d\n", DateToUpdate.Date, DateToUpdate.Month, DateToUpdate.Year);

}
*/
/* USER CODE END 4 */

void Error_Handler(void)
{
  /* USER CODE BEGIN Error_Handler_Debug */
  /* User can add his own implementation to report the HAL error return state */
	HAL_GPIO_WritePin(LD1_GPIO_Port, LD1_Pin, SET);
	HAL_GPIO_WritePin(LD2_GPIO_Port, LD2_Pin, RESET);
	//HAL_GPIO_WritePin(LD3_GPIO_Port, LD3_Pin, SET);
  __disable_irq();
  while (1)
  {
  }
  /* USER CODE END Error_Handler_Debug */
}
